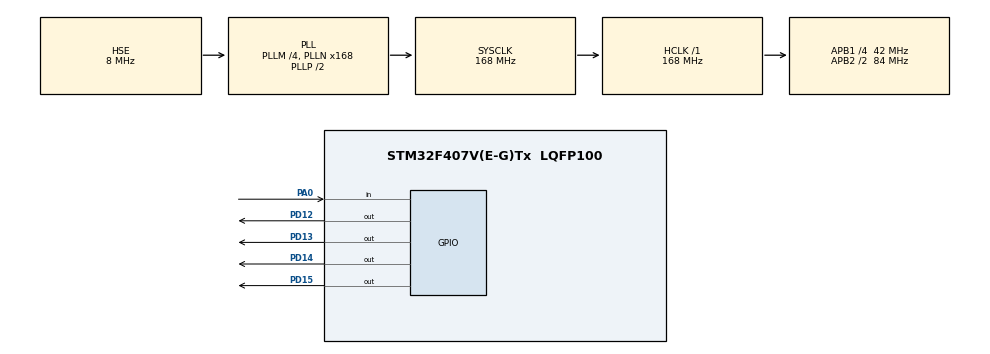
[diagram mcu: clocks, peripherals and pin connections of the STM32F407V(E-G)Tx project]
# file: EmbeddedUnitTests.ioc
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Mcu.Family=STM32F4
Mcu.Name=STM32F407V(E-G)Tx
Mcu.Package=LQFP100
NVIC.PriorityGroup=NVIC_PRIORITYGROUP_4
PA0-WKUP.Signal=GPIO_Input
PA13.Mode=Serial_Wire
PA13.Signal=SYS_JTMS-SWDIO
PA14.Mode=Serial_Wire
PA14.Signal=SYS_JTCK-SWCLK
PD12.Signal=GPIO_Output
PD13.Signal=GPIO_Output
PD14.Signal=GPIO_Output
PD15.Signal=GPIO_Output
PH0-OSC_IN.Mode=HSE-External-Oscillator
PH0-OSC_IN.Signal=RCC_OSC_IN
PH1-OSC_OUT.Mode=HSE-External-Oscillator
PH1-OSC_OUT.Signal=RCC_OSC_OUT
ProjectManager.HeapSize=0x200
ProjectManager.StackSize=0x400
ProjectManager.TargetToolchain=STM32CubeIDE
RCC.48MHZClocksFreq_Value=84000000
RCC.AHBFreq_Value=168000000
RCC.APB1CLKDivider=RCC_HCLK_DIV4
RCC.APB1Freq_Value=42000000
RCC.APB1TimFreq_Value=84000000
RCC.APB2CLKDivider=RCC_HCLK_DIV2
RCC.APB2Freq_Value=84000000
RCC.APB2TimFreq_Value=168000000
RCC.CortexFreq_Value=168000000
RCC.HCLKFreq_Value=168000000
RCC.HSE_VALUE=8000000
RCC.HSI_VALUE=16000000
RCC.LSE_VALUE=32768
RCC.PLLM=4
RCC.PLLN=168
RCC.PLLSourceVirtual=RCC_PLLSOURCE_HSE
RCC.SYSCLKFreq_VALUE=168000000
RCC.SYSCLKSource=RCC_SYSCLKSOURCE_PLLCLK
RCC.VCOOutputFreq_Value=336000000
board=custom

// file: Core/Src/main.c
/* USER CODE BEGIN Header */
/**
  ******************************************************************************
  * @file           : main.c
  * @brief          : Main program body
  ******************************************************************************
  * @attention
  *
  * Copyright (c) 2026 STMicroelectronics.
  * All rights reserved.
  *
  * This software is licensed under terms that can be found in the LICENSE file
  * in the root directory of this software component.
  * If no LICENSE file comes with this software, it is provided AS-IS.
  *
  ******************************************************************************
  */
/* USER CODE END Header */
#include "main.h"

void SystemClock_Config(void);
static void MX_GPIO_Init(void);
/* USER CODE BEGIN PFP */

void DWT_Init(void) {
	if (!(CoreDebug->DEMCR & CoreDebug_DEMCR_TRCENA_Msk)) {
		CoreDebug->DEMCR |= CoreDebug_DEMCR_TRCENA_Msk;
	}
	DWT->CYCCNT = 0;
	DWT->CTRL |= DWT_CTRL_CYCCNTENA_Msk;
}

uint32_t DWT_GetCycleCount(void) {
	return DWT->CYCCNT;
}

uint32_t GetSysClockFreq(void) {
	return HAL_RCC_GetSysClockFreq();
}

uint64_t DWT_GetTimeNs() {
	uint32_t freq = GetSysClockFreq();
	return (uint64_t)DWT_GetCycleCount() * 1000000000ULL / freq;
}

void initialise_monitor_handles(void);
int main_tests(void);
void linpack(void);
void test_whetstones(void);
/* USER CODE END PFP */

int main(void)
{

  /* USER CODE BEGIN 1 */
	DWT_Init();
  /* USER CODE END 1 */

  /* MCU Configuration--------------------------------------------------------*/

  /* Reset of all peripherals, Initializes the Flash interface and the Systick. */
  HAL_Init();

  /* USER CODE BEGIN Init */

	/* Enable ART Accelerator / Prefetch Buffer */
	__HAL_FLASH_PREFETCH_BUFFER_ENABLE();
	__HAL_FLASH_INSTRUCTION_CACHE_ENABLE();
	__HAL_FLASH_DATA_CACHE_ENABLE();

  /* USER CODE END Init */

  /* Configure the system clock */
  SystemClock_Config();

  /* Initialize all configured peripherals */
  MX_GPIO_Init();
  /* USER CODE BEGIN 2 */
  initialise_monitor_handles();
  /* USER CODE END 2 */

  /* Infinite loop */
  /* USER CODE BEGIN WHILE */
  while (1)
  {
      main_tests();
	  linpack();
	  test_whetstones();
    /* USER CODE END WHILE */

  }
}

void SystemClock_Config(void)
{
  RCC_OscInitTypeDef RCC_OscInitStruct = {0};
  RCC_ClkInitTypeDef RCC_ClkInitStruct = {0};

  /** Configure the main internal regulator output voltage
  */
  __HAL_RCC_PWR_CLK_ENABLE();
  __HAL_PWR_VOLTAGESCALING_CONFIG(PWR_REGULATOR_VOLTAGE_SCALE1);

  /** Initializes the RCC Oscillators according to the specified parameters
  * in the RCC_OscInitTypeDef structure.
  */
  RCC_OscInitStruct.OscillatorType = RCC_OSCILLATORTYPE_HSE;
  RCC_OscInitStruct.HSEState = RCC_HSE_ON;
  RCC_OscInitStruct.PLL.PLLState = RCC_PLL_ON;
  RCC_OscInitStruct.PLL.PLLSource = RCC_PLLSOURCE_HSE;
  RCC_OscInitStruct.PLL.PLLM = 4;
  RCC_OscInitStruct.PLL.PLLN = 168;
  RCC_OscInitStruct.PLL.PLLP = RCC_PLLP_DIV2;
  RCC_OscInitStruct.PLL.PLLQ = 4;
  if (HAL_RCC_OscConfig(&RCC_OscInitStruct) != HAL_OK)
  {
    Error_Handler();
  }

  /** Initializes the CPU, AHB and APB buses clocks
  */
  RCC_ClkInitStruct.ClockType = RCC_CLOCKTYPE_HCLK|RCC_CLOCKTYPE_SYSCLK
                              |RCC_CLOCKTYPE_PCLK1|RCC_CLOCKTYPE_PCLK2;
  RCC_ClkInitStruct.SYSCLKSource = RCC_SYSCLKSOURCE_PLLCLK;
  RCC_ClkInitStruct.AHBCLKDivider = RCC_SYSCLK_DIV1;
  RCC_ClkInitStruct.APB1CLKDivider = RCC_HCLK_DIV4;
  RCC_ClkInitStruct.APB2CLKDivider = RCC_HCLK_DIV2;

  if (HAL_RCC_ClockConfig(&RCC_ClkInitStruct, FLASH_LATENCY_5) != HAL_OK)
  {
    Error_Handler();
  }
}

static void MX_GPIO_Init(void)
{
  GPIO_InitTypeDef GPIO_InitStruct = {0};

  /* GPIO Ports Clock Enable */
  __HAL_RCC_GPIOH_CLK_ENABLE();
  __HAL_RCC_GPIOA_CLK_ENABLE();
  __HAL_RCC_GPIOD_CLK_ENABLE();

  /*Configure GPIO pin Output Level */
  HAL_GPIO_WritePin(GPIOD, GPIO_PIN_12|GPIO_PIN_13|GPIO_PIN_14|GPIO_PIN_15, GPIO_PIN_RESET);

  /*Configure GPIO pin : PA0 */
  GPIO_InitStruct.Pin = GPIO_PIN_0;
  GPIO_InitStruct.Mode = GPIO_MODE_INPUT;
  GPIO_InitStruct.Pull = GPIO_NOPULL;
  HAL_GPIO_Init(GPIOA, &GPIO_InitStruct);

  /*Configure GPIO pins : PD12 PD13 PD14 PD15 */
  GPIO_InitStruct.Pin = GPIO_PIN_12|GPIO_PIN_13|GPIO_PIN_14|GPIO_PIN_15;
  GPIO_InitStruct.Mode = GPIO_MODE_OUTPUT_PP;
  GPIO_InitStruct.Pull = GPIO_NOPULL;
  GPIO_InitStruct.Speed = GPIO_SPEED_FREQ_LOW;
  HAL_GPIO_Init(GPIOD, &GPIO_InitStruct);

}

void Error_Handler(void)
{
  __disable_irq();
  while (1)
  {
  }
}
